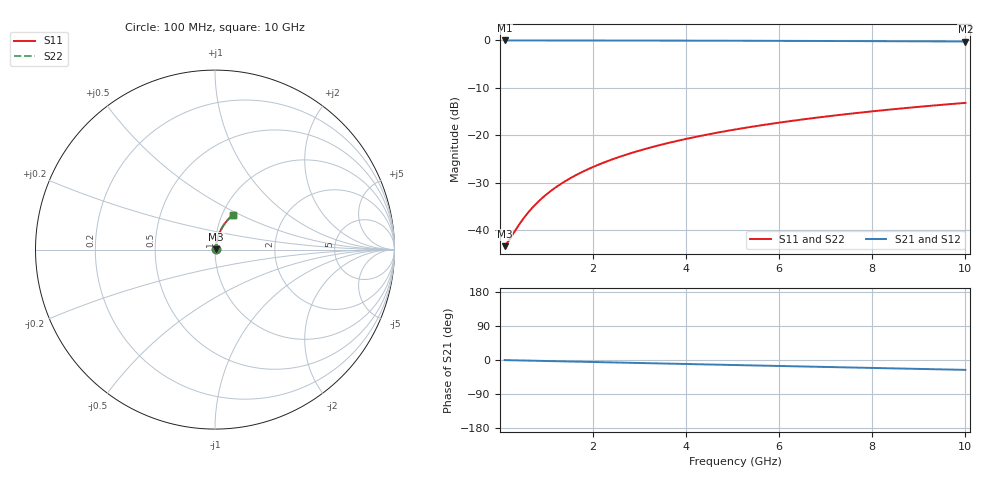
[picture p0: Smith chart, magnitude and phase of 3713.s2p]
# Hz S RI R 50.00
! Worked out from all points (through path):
!   100 points, 100 MHz to 10 GHz, reference 50 ohm
!   highest |S21| = -0.06 dB at 100 MHz (marker M1); lowest = -0.3 dB at 10 GHz (marker M2)
!   group delay of S21, straight-line fit = 7.24 ps
!   lowest |S11| = -43.3 dB at 100 MHz (marker M3), VSWR 1.01, Z = 50.6 + j0.231 ohm
!   |S11| at or under -10 dB: start of sweep to end of sweep
!   |S22| runs from -43.3 to -13.2 dB; largest |S21 - S12| = 1e-12
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1e8  0.00645 0.00228  0.9935 -0.00458  0.9935 -0.00458  0.00645 0.00228
2e8  0.00653 0.00455  0.9935 -0.00916  0.9935 -0.00916  0.00653 0.00455
4e8  0.00671 0.0091  0.9932 -0.0183  0.9932 -0.0183  0.00671 0.0091
5e8  0.00682 0.0114  0.9931 -0.0229  0.9931 -0.0229  0.00682 0.0114
6e8  0.00696 0.0136  0.9929 -0.0275  0.9929 -0.0275  0.00696 0.0136
7e8  0.00711 0.0159  0.9927 -0.032  0.9927 -0.032  0.00711 0.0159
8e8  0.00728 0.0182  0.9925 -0.0366  0.9925 -0.0366  0.00728 0.0182
1e9  0.00769 0.0227  0.992 -0.0458  0.992 -0.0458  0.00769 0.0227
1.2e9  0.00817 0.0272  0.9914 -0.0549  0.9914 -0.0549  0.00817 0.0272
1.5e9  0.00905 0.034  0.9903 -0.0686  0.9903 -0.0686  0.00905 0.034
1.8e9  0.0101 0.0407  0.989 -0.0822  0.989 -0.0822  0.0101 0.0407
2.1e9  0.0114 0.0474  0.9874 -0.0958  0.9874 -0.0958  0.0114 0.0474
2.5e9  0.0133 0.0563  0.985 -0.1139  0.985 -0.1139  0.0133 0.0563
2.9e9  0.0156 0.0651  0.9821 -0.1319  0.9821 -0.1319  0.0156 0.0651
3.4e9  0.0188 0.0759  0.978 -0.1543  0.978 -0.1543  0.0188 0.0759
4.2e9  0.0251 0.0929  0.9701 -0.1897  0.9701 -0.1897  0.0251 0.0929
5.1e9  0.0335 0.1113  0.9594 -0.2289  0.9594 -0.2289  0.0335 0.1113
5.9e9  0.0423 0.1269  0.9483 -0.2631  0.9483 -0.2631  0.0423 0.1269
6.7e9  0.0521 0.1419  0.9357 -0.2965  0.9357 -0.2965  0.0521 0.1419
7.5e9  0.0629 0.156  0.9218 -0.3292  0.9218 -0.3292  0.0629 0.156
8.4e9  0.0762 0.1708  0.9046 -0.3648  0.9046 -0.3648  0.0762 0.1708
1e10  0.1023 0.1941  0.8703 -0.4253  0.8703 -0.4253  0.1023 0.1941
